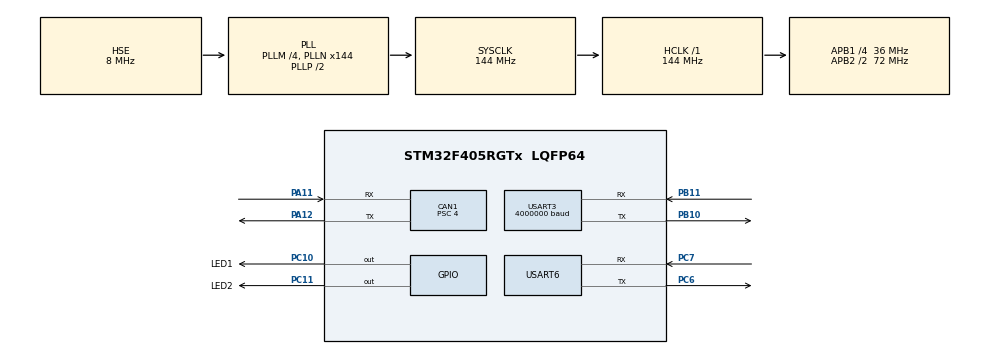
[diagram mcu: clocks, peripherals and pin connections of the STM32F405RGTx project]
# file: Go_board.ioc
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CAN1.BS1=CAN_BS1_4TQ
CAN1.BS2=CAN_BS2_4TQ
CAN1.CalculateBaudRate=1000000
CAN1.CalculateTimeBit=1000
CAN1.CalculateTimeQuantum=111.11111111111111
CAN1.Prescaler=4
Dma.Request0=USART3_RX
Dma.Request1=USART3_TX
Dma.Request2=USART6_RX
Dma.Request3=USART6_TX
Dma.USART3_RX.0.Direction=DMA_PERIPH_TO_MEMORY
Dma.USART3_RX.0.FIFOMode=DMA_FIFOMODE_DISABLE
Dma.USART3_RX.0.Instance=DMA1_Stream1
Dma.USART3_RX.0.MemDataAlignment=DMA_MDATAALIGN_BYTE
Dma.USART3_RX.0.MemInc=DMA_MINC_ENABLE
Dma.USART3_RX.0.Mode=DMA_CIRCULAR
Dma.USART3_RX.0.PeriphDataAlignment=DMA_PDATAALIGN_BYTE
Dma.USART3_RX.0.PeriphInc=DMA_PINC_DISABLE
Dma.USART3_RX.0.Priority=DMA_PRIORITY_LOW
Dma.USART3_TX.1.Direction=DMA_MEMORY_TO_PERIPH
Dma.USART3_TX.1.FIFOMode=DMA_FIFOMODE_DISABLE
Dma.USART3_TX.1.Instance=DMA1_Stream3
Dma.USART3_TX.1.MemDataAlignment=DMA_MDATAALIGN_BYTE
Dma.USART3_TX.1.MemInc=DMA_MINC_ENABLE
Dma.USART3_TX.1.Mode=DMA_NORMAL
Dma.USART3_TX.1.PeriphDataAlignment=DMA_PDATAALIGN_BYTE
Dma.USART3_TX.1.PeriphInc=DMA_PINC_DISABLE
Dma.USART3_TX.1.Priority=DMA_PRIORITY_LOW
Dma.USART6_RX.2.Direction=DMA_PERIPH_TO_MEMORY
Dma.USART6_RX.2.FIFOMode=DMA_FIFOMODE_DISABLE
Dma.USART6_RX.2.Instance=DMA2_Stream1
Dma.USART6_RX.2.MemDataAlignment=DMA_MDATAALIGN_BYTE
Dma.USART6_RX.2.MemInc=DMA_MINC_ENABLE
Dma.USART6_RX.2.Mode=DMA_CIRCULAR
Dma.USART6_RX.2.PeriphDataAlignment=DMA_PDATAALIGN_BYTE
Dma.USART6_RX.2.PeriphInc=DMA_PINC_DISABLE
Dma.USART6_RX.2.Priority=DMA_PRIORITY_LOW
Dma.USART6_TX.3.Direction=DMA_MEMORY_TO_PERIPH
Dma.USART6_TX.3.FIFOMode=DMA_FIFOMODE_DISABLE
Dma.USART6_TX.3.Instance=DMA2_Stream6
Dma.USART6_TX.3.MemDataAlignment=DMA_MDATAALIGN_BYTE
Dma.USART6_TX.3.MemInc=DMA_MINC_ENABLE
Dma.USART6_TX.3.Mode=DMA_NORMAL
Dma.USART6_TX.3.PeriphDataAlignment=DMA_PDATAALIGN_BYTE
Dma.USART6_TX.3.PeriphInc=DMA_PINC_DISABLE
Dma.USART6_TX.3.Priority=DMA_PRIORITY_LOW
Mcu.Family=STM32F4
Mcu.Name=STM32F405RGTx
Mcu.Package=LQFP64
NVIC.CAN1_RX0_IRQn=true\:5\:0\:true\:false\:true\:true\:true\:true
NVIC.CAN1_TX_IRQn=true\:5\:0\:true\:false\:true\:true\:true\:true
NVIC.DMA1_Stream1_IRQn=true\:0\:0\:false\:false\:true\:false\:true\:true
NVIC.DMA1_Stream3_IRQn=true\:0\:0\:false\:false\:true\:false\:true\:true
NVIC.DMA2_Stream1_IRQn=true\:0\:0\:false\:false\:true\:false\:true\:true
NVIC.DMA2_Stream6_IRQn=true\:0\:0\:false\:false\:true\:false\:true\:true
NVIC.PriorityGroup=NVIC_PRIORITYGROUP_4
NVIC.TIM2_IRQn=true\:7\:0\:true\:false\:true\:true\:true\:true
NVIC.USART3_IRQn=true\:6\:0\:true\:false\:false\:true\:true\:true
NVIC.USART6_IRQn=true\:5\:0\:true\:false\:false\:true\:true\:true
PA11.Mode=CAN_Activate
PA11.Signal=CAN1_RX
PA12.Mode=CAN_Activate
PA12.Signal=CAN1_TX
PA13.Mode=Serial_Wire
PA13.Signal=SYS_JTMS-SWDIO
PA14.Mode=Serial_Wire
PA14.Signal=SYS_JTCK-SWCLK
PB10.Mode=Asynchronous
PB10.Signal=USART3_TX
PB11.Mode=Asynchronous
PB11.Signal=USART3_RX
PC10.GPIO_Label=LED1
PC10.Signal=GPIO_Output
PC11.GPIO_Label=LED2
PC11.Signal=GPIO_Output
PC6.Mode=Asynchronous
PC6.Signal=USART6_TX
PC7.Mode=Asynchronous
PC7.Signal=USART6_RX
PH0-OSC_IN.Mode=HSE-External-Oscillator
PH0-OSC_IN.Signal=RCC_OSC_IN
PH1-OSC_OUT.Mode=HSE-External-Oscillator
PH1-OSC_OUT.Signal=RCC_OSC_OUT
ProjectManager.HeapSize=0x2000
ProjectManager.StackSize=0x4000
ProjectManager.TargetToolchain=STM32CubeIDE
RCC.48MHZClocksFreq_Value=72000000
RCC.AHBFreq_Value=144000000
RCC.APB1CLKDivider=RCC_HCLK_DIV4
RCC.APB1Freq_Value=36000000
RCC.APB1TimFreq_Value=72000000
RCC.APB2CLKDivider=RCC_HCLK_DIV2
RCC.APB2Freq_Value=72000000
RCC.APB2TimFreq_Value=144000000
RCC.CortexFreq_Value=144000000
RCC.HCLKFreq_Value=144000000
RCC.HSE_VALUE=8000000
RCC.HSI_VALUE=16000000
RCC.LSE_VALUE=32768
RCC.PLLM=4
RCC.PLLN=144
RCC.PLLSourceVirtual=RCC_PLLSOURCE_HSE
RCC.SYSCLKFreq_VALUE=144000000
RCC.SYSCLKSource=RCC_SYSCLKSOURCE_PLLCLK
RCC.VCOOutputFreq_Value=288000000
TIM2.Period=10-1
TIM2.Prescaler=7200-1
USART3.BaudRate=4000000
USART3.OverSampling=UART_OVERSAMPLING_8
USART3.VirtualMode=VM_ASYNC
USART6.VirtualMode=VM_ASYNC
VP_TIM2_VS_ClockSourceINT.Mode=Internal
board=custom

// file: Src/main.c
/* USER CODE BEGIN Header */
/**
  ******************************************************************************
  * @file           : main.c
  * @brief          : Main program body
  ******************************************************************************
  * @attention
  *
  * Copyright (c) 2023 STMicroelectronics.
  * All rights reserved.
  *
  * This software is licensed under terms that can be found in the LICENSE file
  * in the root directory of this software component.
  * If no LICENSE file comes with this software, it is provided AS-IS.
  *
  ******************************************************************************
  */
/* USER CODE END Header */
#include "main.h"
#include "can.h"
#include "dma.h"
#include "tim.h"
#include "usart.h"
#include "gpio.h"

/* USER CODE BEGIN Includes */
#include <Go_Driver.h>
#include <CAN_Handler.h>
#include <pid.h>
#include "usart_cmd.h"
/* USER CODE END Includes */

/* USER CODE BEGIN PV */
#pragma clang diagnostic push
#pragma ide diagnostic ignored "EndlessLoop"
/* USER CODE END PV */

void SystemClock_Config(void);

/* USER CODE BEGIN 0 */
int time_1ms_cnt;
int idle_time;
/* USER CODE END 0 */

int main(void)
{

  /* MCU Configuration--------------------------------------------------------*/

  /* Reset of all peripherals, Initializes the Flash interface and the Systick. */
  HAL_Init();

  /* Configure the system clock */
  SystemClock_Config();

  /* Initialize all configured peripherals */
  MX_GPIO_Init();
  MX_DMA_Init();
  MX_CAN1_Init();
  MX_USART3_UART_Init();
  MX_USART6_UART_Init();
  MX_TIM2_Init();
  /* USER CODE BEGIN 2 */
    HAL_TIM_Base_Start_IT(&htim2);
    // Init part
    // Empty driver parameters
    // Rabbit parameters
//    Go_Ctrl_Data[0].k_pos = 9.2f;
//    Go_Ctrl_Data[0].k_vel = 0.2f;
    CAN1_Filter_Init();
    Usart3_TX_DMA_Init();
    USART3_Rx_Init();
    USART6_Rx_Init();

    motorOn(0);
    Usart_Printf("Init Finished!\r\n");

  /* USER CODE END 2 */

  /* Infinite loop */
    while (1) {

    /* USER CODE BEGIN 3 */
//         HAL_UART_Transmit(&huart2, "hello world!\r\n",sizeof("hello world!\r\n"),0x7fff);
//          Go_Motor_Speed_Control(0, 3.14f, 0.02f);
//        idle_time = 1;
//        HAL_Delay(500);
//        HAL_GPIO_TogglePin(LED2_GPIO_Port,LED2_Pin);
//        if (idle_time){
//            HAL_GPIO_WritePin(LED1_GPIO_Port,LED1_Pin,GPIO_PIN_SET);
//            Motor_Ctrl(0);
//        }
    }
  /* USER CODE END 3 */
}

void SystemClock_Config(void)
{
  RCC_OscInitTypeDef RCC_OscInitStruct = {0};
  RCC_ClkInitTypeDef RCC_ClkInitStruct = {0};

  /** Configure the main internal regulator output voltage
  */
  __HAL_RCC_PWR_CLK_ENABLE();
  __HAL_PWR_VOLTAGESCALING_CONFIG(PWR_REGULATOR_VOLTAGE_SCALE1);

  /** Initializes the RCC Oscillators according to the specified parameters
  * in the RCC_OscInitTypeDef structure.
  */
  RCC_OscInitStruct.OscillatorType = RCC_OSCILLATORTYPE_HSE;
  RCC_OscInitStruct.HSEState = RCC_HSE_ON;
  RCC_OscInitStruct.PLL.PLLState = RCC_PLL_ON;
  RCC_OscInitStruct.PLL.PLLSource = RCC_PLLSOURCE_HSE;
  RCC_OscInitStruct.PLL.PLLM = 4;
  RCC_OscInitStruct.PLL.PLLN = 144;
  RCC_OscInitStruct.PLL.PLLP = RCC_PLLP_DIV2;
  RCC_OscInitStruct.PLL.PLLQ = 4;
  if (HAL_RCC_OscConfig(&RCC_OscInitStruct) != HAL_OK)
  {
    Error_Handler();
  }

  /** Initializes the CPU, AHB and APB buses clocks
  */
  RCC_ClkInitStruct.ClockType = RCC_CLOCKTYPE_HCLK|RCC_CLOCKTYPE_SYSCLK
                              |RCC_CLOCKTYPE_PCLK1|RCC_CLOCKTYPE_PCLK2;
  RCC_ClkInitStruct.SYSCLKSource = RCC_SYSCLKSOURCE_PLLCLK;
  RCC_ClkInitStruct.AHBCLKDivider = RCC_SYSCLK_DIV1;
  RCC_ClkInitStruct.APB1CLKDivider = RCC_HCLK_DIV4;
  RCC_ClkInitStruct.APB2CLKDivider = RCC_HCLK_DIV2;

  if (HAL_RCC_ClockConfig(&RCC_ClkInitStruct, FLASH_LATENCY_4) != HAL_OK)
  {
    Error_Handler();
  }
}

/* USER CODE BEGIN 4 */
void HAL_TIM_PeriodElapsedCallback(TIM_HandleTypeDef *htim)
{
    /* USER CODE BEGIN Callback 0 */

    if (htim->Instance == TIM2)
    {
        // osSemaphoreRelease(can1sendSemaHandle);
        time_1ms_cnt++;
        idle_time++;
//        if (!Go_Ctrl_Data[0].have_send && Go_State[0].have_init)
//            Motor_Ctrl(0);
        if (time_1ms_cnt % 500 == 0 && Go_State[0].have_init)
        {
            HAL_GPIO_TogglePin(LED2_GPIO_Port, LED2_Pin);
        }

//        //TODO: 多电机死机识别
        if (idle_time >= 500 && Go_State[0].have_init){
//            Go_State[0].State = PosControl;
//            Go_Ctrl_Data[0].des_pos = Go_State[0].pos;
            HAL_GPIO_WritePin(LED1_GPIO_Port,LED1_Pin,GPIO_PIN_SET);
            Motor_Ctrl(0);
        }
    }

    /* USER CODE END Callback 0 */
    if (htim->Instance == TIM14) {
        HAL_IncTick();
    }
    /* USER CODE BEGIN Callback 1 */

    /* USER CODE END Callback 1 */
}
/* USER CODE END 4 */

void Error_Handler(void)
{
    __disable_irq();
    while (1) {
    }
}
